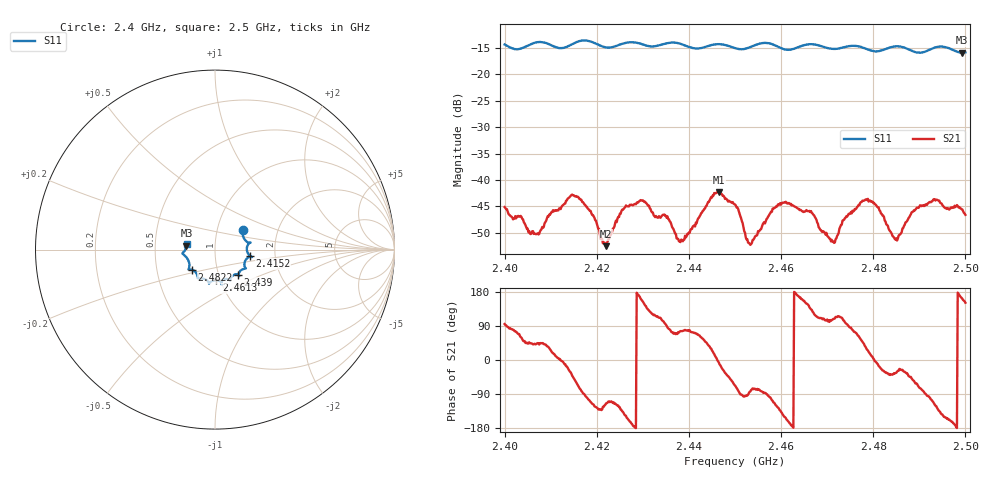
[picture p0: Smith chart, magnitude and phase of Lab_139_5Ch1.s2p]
# Hz S RI R 50
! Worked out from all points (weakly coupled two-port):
!   601 points, 2.4 GHz to 2.5 GHz, reference 50 ohm
!   highest |S21| = -42.26 dB at 2.4465 GHz (marker M1); lowest = -52.5 dB at 2.422 GHz (marker M2)
!   lowest |S11| = -15.9 dB at 2.4993 GHz (marker M3), VSWR 1.38, Z = 36.3 + j1.61 ohm
!   |S11| at or under -10 dB: start of sweep to end of sweep
!   S12 and S22 are empty: the file has one direction only
!   S11 on the Smith chart (normalised r, x): 2.4 GHz: 1.33, +0.31; 2.4152 GHz: 1.48, -0.11; 2.439 GHz: 1.24, -0.36; 2.4613 GHz: 0.96, -0.34; 2.4822 GHz: 0.76, -0.17; 2.5 GHz: 0.73, +0.05
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2.4e9  0.1561 0.1114  -0.000474 0.00553  0 0  0 0
2.407e9  0.1978 0.0382  0.00224 0.00214  0 0  0 0
2.415167e9  0.1947 -0.0359  0.00442 -0.00551  0 0  0 0
2.416667e9  0.2044 -0.0419  0.000898 -0.00644  0 0  0 0
2.422e9  0.1699 -0.0593  -0.000982 -0.00216  0 0  0 0
2.426667e9  0.1713 -0.1036  -0.00508 -0.00245  0 0  0 0
2.43e9  0.1589 -0.1082  -0.00579 0.00281  0 0  0 0
2.433333e9  0.133 -0.1324  -0.00171 0.00406  0 0  0 0
2.439e9  0.1281 -0.139  0.000537 0.00268  0 0  0 0
2.4465e9  0.0855 -0.1737  0.00765 -0.000934  0 0  0 0
2.45e9  0.0688 -0.1635  0.00228 -0.00541  0 0  0 0
2.453333e9  0.0369 -0.1778  0.000302 -0.00242  0 0  0 0
2.461333e9  0.00775 -0.1707  -0.00559 -0.00218  0 0  0 0
2.466667e9  -0.0331 -0.1903  -0.00329 0.00363  0 0  0 0
2.471333e9  -0.0575 -0.1641  -0.000832 0.00248  0 0  0 0
2.477833e9  -0.0967 -0.1507  0.00454 0.00447  0 0  0 0
2.482167e9  -0.1283 -0.1122  0.00407 -0.00216  0 0  0 0
2.483333e9  -0.1396 -0.1106  0.00273 -0.00213  0 0  0 0
2.485167e9  -0.1479 -0.1106  0.0023 -0.00137  0 0  0 0
2.493333e9  -0.1775 -0.0259  -0.00305 -0.00584  0 0  0 0
2.499333e9  -0.1588 0.0217  -0.00501 0.00167  0 0  0 0
2.5e9  -0.1583 0.0336  -0.00411 0.00226  0 0  0 0
